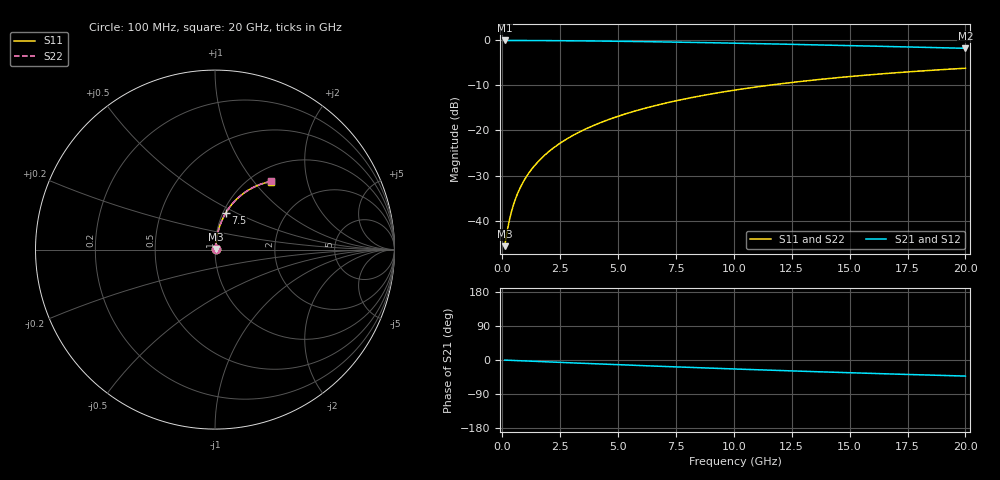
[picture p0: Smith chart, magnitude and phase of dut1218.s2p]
! Touchstone file exported from HFSS 2024.1.0
!  File:  C:/UserFiles/LocalFiles/RDL_TSV_Batchsim/temp_RDL_bottom_1218_1780244005.aedt
!  Generated:  12:16:02 AM Jun  1, 2026
!  Design:  RDL_bottom
!  Project:  temp_RDL_bottom_1218_1780244005
!  Setup:  Setup1
!  Solution:  Sweep
! Variables:
!  dtsv = 10.80580581um
!  hbump = 3um
!  htsv = 62.86um
!  ldown = 508.35um
!  lrdl = 100um
!  p = 40
!  p1 = 59.21um
!  rhole = 1um
!  t = 450um
!  tdown = 3.21um
!  trdl = 3.915915916um
!  wdown = 13.48um
!  wrdl = 20um
# GHz S MA R 50.000000
! Terminal data exported
! Port[1] = RDL1_T1
! Port[2] = RDL1_T2
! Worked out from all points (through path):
!   200 points, 100 MHz to 20 GHz, reference 50 ohm
!   highest |S21| = -0.04 dB at 100 MHz (marker M1); lowest = -1.8 dB at 20 GHz (marker M2)
!   group delay of S21, straight-line fit = 5.89 ps
!   lowest |S11| = -45.7 dB at 100 MHz (marker M3), VSWR 1.01, Z = 50.4 + j0.301 ohm
!   |S11| at or under -10 dB: start of sweep to 11.48 GHz
!   |S22| runs from -45.7 to -6.2 dB; largest |S21 - S12| = 3.5e-15
!   S11 on the Smith chart (normalised r, x): 100 MHz: 1.01, +0.01; 7.5 GHz: 1.03, +0.44; 20 GHz: 1.23, +1.22
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0.1  0.005208 35.0  0.9957 -0.3  0.9957 -0.3  0.005208 35.0
! Gamma 0 0 0 0
! Port Impedance 50 0 50 0
0.2  0.007377 53.9  0.9957 -0.5  0.9957 -0.5  0.007377 53.9
0.3  0.009964 63.3  0.9955 -0.8  0.9955 -0.8  0.009964 63.3
0.4  0.01269 68.6  0.9954 -1.0  0.9954 -1.0  0.01269 68.7
0.5  0.01547 72.0  0.9952 -1.3  0.9952 -1.3  0.01547 72.0
0.6  0.01828 74.2  0.9951 -1.5  0.9951 -1.5  0.01828 74.2
0.8  0.02391 77.0  0.9947 -2.0  0.9947 -2.0  0.02391 77.0
1.1  0.03239 79.3  0.9941 -2.8  0.9941 -2.8  0.03239 79.3
1.5  0.04376 80.6  0.9932 -3.8  0.9932 -3.8  0.04376 80.6
1.8  0.05231 81.1  0.9923 -4.6  0.9923 -4.6  0.05231 81.1
2.1  0.06088 81.2  0.9913 -5.3  0.9913 -5.3  0.06088 81.2
2.7  0.07804 81.1  0.9889 -6.8  0.9889 -6.8  0.07804 81.1
3.5  0.1009 80.3  0.985 -8.8  0.985 -8.8  0.1009 80.3
4.2  0.1209 79.4  0.9808 -10.5  0.9808 -10.5  0.1209 79.4
5  0.1436 78.1  0.9754 -12.4  0.9754 -12.4  0.1436 78.1
5.9  0.169 76.6  0.9685 -14.5  0.9685 -14.5  0.169 76.6
6.8  0.194 74.9  0.9608 -16.6  0.9608 -16.6  0.194 74.9
7.5  0.2132 73.6  0.9544 -18.2  0.9544 -18.2  0.2133 73.6
10.1  0.2818 68.6  0.9283 -23.9  0.9283 -23.9  0.2819 68.6
13.4  0.3612 62.3  0.8915 -30.6  0.8915 -30.6  0.3613 62.3
16.7  0.4306 56.3  0.8531 -36.7  0.8531 -36.7  0.4307 56.3
20  0.49 50.7  0.8148 -42.4  0.8148 -42.4  0.4901 50.8
